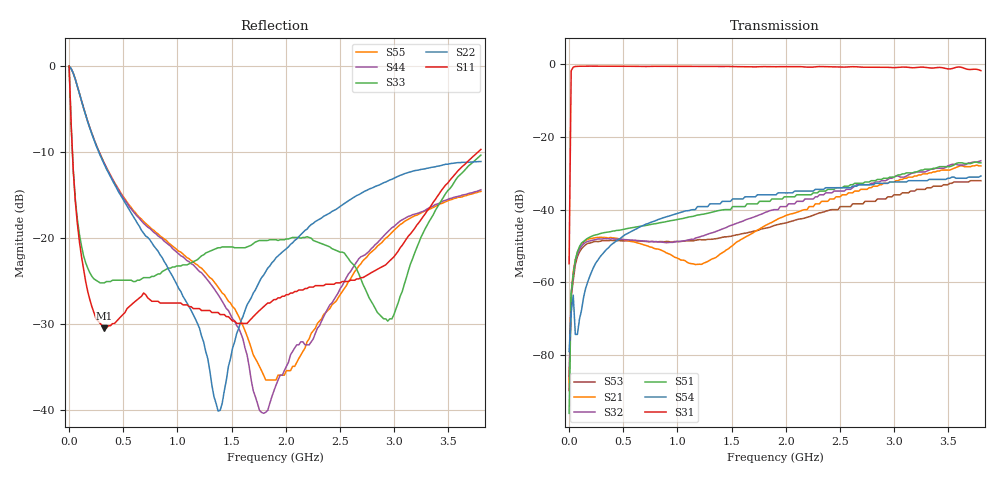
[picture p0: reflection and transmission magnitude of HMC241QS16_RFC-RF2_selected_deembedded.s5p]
!Hittite Microwave Corporation
!12 Elizabeth Drive
!Chelmsford, MA 01824
!Tel: 978-250-3343
!Fax: 978-250-3373
!Device: HMC241QS16, DC-3.5 GHz GaAs MMIC SP4T Non-Reflective Switch in 16 lead QSOP package
!Misc: Port 1 = RFC, Port 2 = RF1, Port 3 = RF2. Port 4 = RF3, Port 5 = RF 4, RF2 Selected, Bias: +5VDC, DEEMBEDDED TO THE PINS OF THE DEVICE
# MHZ S MA R 50
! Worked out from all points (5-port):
!   200 points, 10 kHz to 3.8 GHz, reference 50 ohm
!   strongest paths, dB at 10 kHz, 954.8 MHz, 1.91 GHz, 2.864 GHz, 3.8 GHz:
!     S31: -54.9, -0.6, -0.7, -0.8, -1.8
!     S54: -79.0, -41.5, -35.9, -32.8, -30.8
!     S51: -96.0, -43.0, -37.1, -31.7, -27.1
!     S32: -85.9, -49.0, -40.0, -32.4, -26.6
!     S21: -87.6, -52.7, -42.9, -33.2, -28.0
!     S53: -89.8, -48.9, -44.3, -37.1, -32.0
!   lowest |S11| = -30.5 dB at 324.6 MHz (marker M1), VSWR 1.06, Z = 53 - j0.877 ohm
!   |S11| at or under -10 dB: 30.55 MHz to 3.772 GHz (3.741 GHz wide, 197 % of centre)
